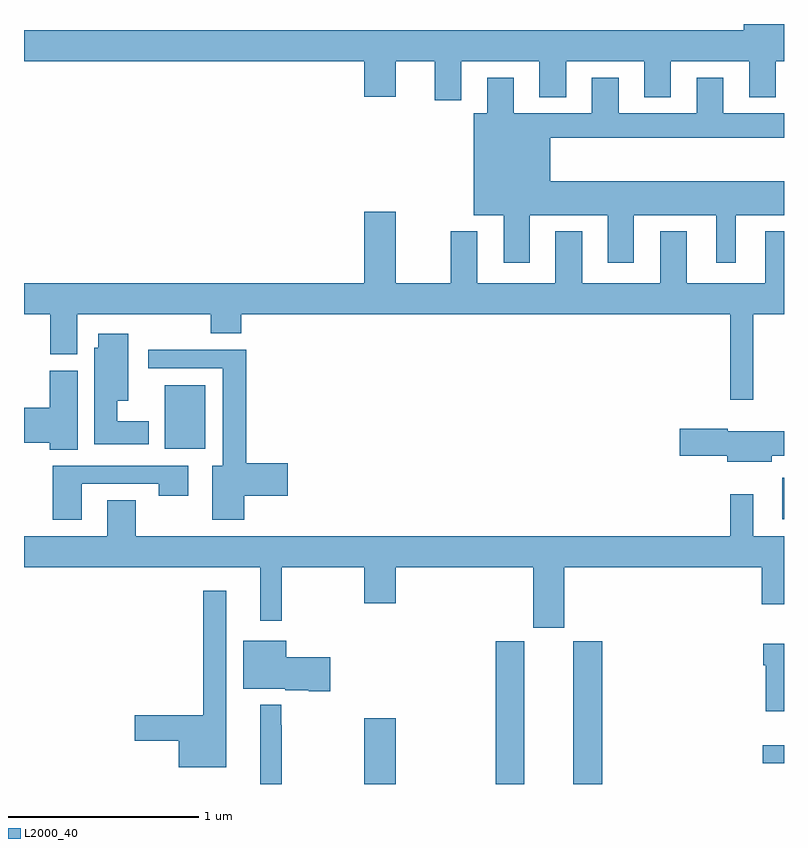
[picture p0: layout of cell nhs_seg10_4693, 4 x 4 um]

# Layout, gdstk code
import gdstk
lib = gdstk.Library(unit=1e-6, precision=1e-09)
def R(c, l, rs):  # rectangles x0, y0, x1, y1
    for r in rs: c.add(gdstk.rectangle(r[:2], r[2:], *l))
def P(c, l, *ps):  # polygons
    for p in ps: c.add(gdstk.Polygon(p, *l))
L2000_40 = (2000, 40)

nhs_seg10_4693 = lib.new_cell('nhs_seg10_4693')
R(nhs_seg10_4693, L2000_40, [(380.792,1308.5,380.956,1308.847), (381.482,1308.5,381.634,1309.251), (381.89,1308.5,382.043,1309.251), (382.887,1308.608,383,1308.705), (382.991,1309.893,383,1310.113), (379.742,1310.264,379.954,1310.599)])
P(nhs_seg10_4693, L2000_40, [(381.301,1312.304),(381.713,1312.304),(381.713,1312.115),(381.853,1312.115),(381.853,1312.304),(382.265,1312.304),(382.265,1312.115),(382.405,1312.115),(382.405,1312.304),(382.817,1312.304),(382.817,1312.115),(382.957,1312.115),(382.957,1312.304),(383,1312.304),(383,1312.5),(382.787,1312.5),(382.787,1312.468),(379,1312.468),(379,1312.304),(380.792,1312.304),(380.792,1312.116),(380.956,1312.116),(380.956,1312.304),(381.161,1312.304),(381.161,1312.098),(381.301,1312.098)],
  [(381.661,1311.494),(382.073,1311.494),(382.073,1311.243),(382.21,1311.243),(382.21,1311.494),(382.643,1311.494),(382.643,1311.243),(382.747,1311.243),(382.747,1311.494),(383,1311.494),(383,1311.673),(381.769,1311.673),(381.769,1311.902),(383,1311.902),(383,1312.03),(382.681,1312.03),(382.681,1312.216),(382.541,1312.216),(382.541,1312.03),(382.129,1312.03),(382.129,1312.216),(381.989,1312.216),(381.989,1312.03),(381.577,1312.03),(381.577,1312.216),(381.437,1312.216),(381.437,1312.03),(381.368,1312.03),(381.368,1311.494),(381.524,1311.494),(381.524,1311.243),(381.661,1311.243)],
  [(382.837,1310.972),(383,1310.972),(383,1311.409),(382.901,1311.409),(382.901,1311.136),(382.489,1311.136),(382.489,1311.409),(382.349,1311.409),(382.349,1311.136),(381.937,1311.136),(381.937,1311.409),(381.797,1311.409),(381.797,1311.136),(381.385,1311.136),(381.385,1311.409),(381.245,1311.409),(381.245,1311.136),(380.956,1311.136),(380.956,1311.511),(380.792,1311.511),(380.792,1311.136),(379,1311.136),(379,1310.972),(379.139,1310.972),(379.139,1310.761),(379.279,1310.761),(379.279,1310.972),(379.984,1310.972),(379.984,1310.873),(380.144,1310.873),(380.144,1310.972),(382.716,1310.972),(382.716,1310.523),(382.837,1310.523)],
  [(379.657,1310.41),(379.492,1310.41),(379.492,1310.516),(379.549,1310.516),(379.549,1310.869),(379.391,1310.869),(379.391,1310.796),(379.37,1310.796),(379.37,1310.288),(379.657,1310.288)],
  [(380.158,1310.018),(380.389,1310.018),(380.389,1310.189),(380.171,1310.189),(380.171,1310.786),(379.653,1310.786),(379.653,1310.688),(380.045,1310.688),(380.045,1310.176),(379.991,1310.176),(379.991,1309.89),(380.158,1309.89)],
  [(379.282,1310.676),(379.136,1310.676),(379.136,1310.48),(379,1310.48),(379,1310.297),(379.136,1310.297),(379.136,1310.26),(379.282,1310.26)],
  [(382.936,1310.227),(383,1310.227),(383,1310.356),(382.704,1310.356),(382.704,1310.369),(382.452,1310.369),(382.452,1310.227),(382.7,1310.227),(382.7,1310.195),(382.936,1310.195)],
  [(379.303,1310.079),(379.708,1310.079),(379.708,1310.016),(379.864,1310.016),(379.864,1310.175),(379.151,1310.175),(379.151,1309.89),(379.303,1309.89)],
  [(381.844,1309.64),(382.883,1309.64),(382.883,1309.446),(383,1309.446),(383,1309.804),(382.837,1309.804),(382.837,1310.026),(382.716,1310.026),(382.716,1309.804),(379.587,1309.804),(379.587,1309.994),(379.439,1309.994),(379.439,1309.804),(379,1309.804),(379,1309.64),(380.243,1309.64),(380.243,1309.359),(380.357,1309.359),(380.357,1309.64),(380.792,1309.64),(380.792,1309.452),(380.956,1309.452),(380.956,1309.64),(381.68,1309.64),(381.68,1309.323),(381.844,1309.323)],
  [(380.065,1309.516),(379.944,1309.516),(379.944,1308.863),(379.584,1308.863),(379.584,1308.728),(379.814,1308.728),(379.814,1308.587),(380.065,1308.587)],
  [(380.611,1309.167),(380.38,1309.167),(380.38,1309.255),(380.153,1309.255),(380.153,1309.001),(380.376,1309.001),(380.376,1308.994),(380.498,1308.994),(380.498,1308.989),(380.611,1308.989)],
  [(383,1309.237),(382.892,1309.237),(382.892,1309.124),(382.904,1309.124),(382.904,1308.884),(383,1308.884)],
  [(380.357,1308.809),(380.353,1308.809),(380.353,1308.916),(380.243,1308.916),(380.243,1308.5),(380.357,1308.5)])

lib.write_gds('nhs_seg10_4693.gds')
